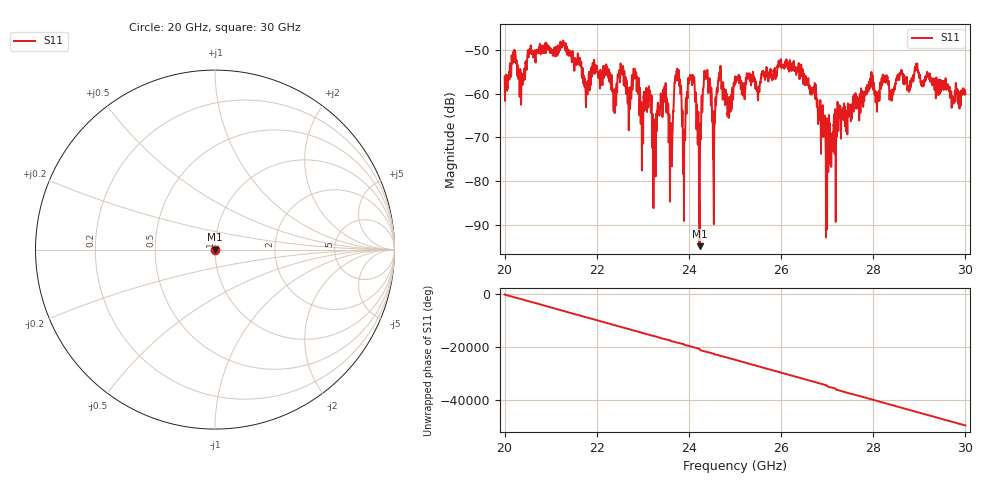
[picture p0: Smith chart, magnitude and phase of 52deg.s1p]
#  HZ  S  RI  R  50.00
! Rohde & Schwarz ZVA40 4Ports - Version 3.90 - 1145.1110k42 SN: 100403
! Date: 2023-10-03 10:48:07
! Measurement: S12
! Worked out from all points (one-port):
!   5001 points, 20 GHz to 30 GHz, reference 50 ohm
!   lowest |S11| = -94.9 dB at 24.23 GHz (marker M1), VSWR 1.00, Z = 50 - j0.00136 ohm
!   |S11| at or under -10 dB: start of sweep to end of sweep
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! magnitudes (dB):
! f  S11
! 20 GHz  -56.2
! 21.25 GHz  -49.2
! 21.75 GHz  -59.0
! 22.21 GHz  -53.3
! 22.39 GHz  -61.0
! 22.5 GHz  -56.2
! 22.7 GHz  -59.3
! 22.84 GHz  -56.3
! 22.97 GHz  -63.9
! 23.12 GHz  -63.2
! 23.25 GHz  -70.5
! 23.48 GHz  -61.9
! 23.61 GHz  -69.7
! 23.75 GHz  -54.5
! 23.88 GHz  -72.5
! 24.06 GHz  -56.3
! 24.23 GHz  -94.9
! 24.36 GHz  -56.0
! 24.54 GHz  -78.0
! 24.65 GHz  -56.7
! 24.88 GHz  -61.1
! 25 GHz  -56.0
! 26.25 GHz  -53.1
! 26.72 GHz  -59.8
! 27.04 GHz  -66.8
! 27.5 GHz  -63.9
! 28.75 GHz  -58.6
! 30 GHz  -60.0
